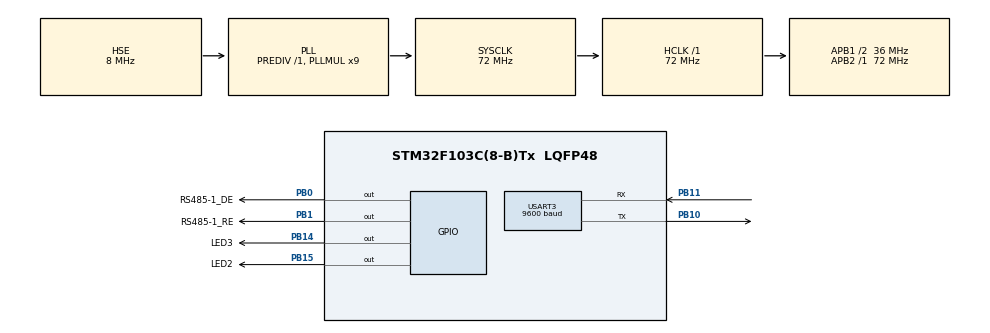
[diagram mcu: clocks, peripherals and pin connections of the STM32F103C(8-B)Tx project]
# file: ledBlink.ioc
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Mcu.Family=STM32F1
Mcu.Name=STM32F103C(8-B)Tx
Mcu.Package=LQFP48
NVIC.PriorityGroup=NVIC_PRIORITYGROUP_4
NVIC.USART3_IRQn=true\:1\:0\:true\:false\:true\:true\:true\:true
PA13.Mode=Serial_Wire
PA13.Signal=SYS_JTMS-SWDIO
PA14.Mode=Serial_Wire
PA14.Signal=SYS_JTCK-SWCLK
PB0.GPIO_Label=RS485-1_DE
PB0.GPIO_Speed=GPIO_SPEED_FREQ_MEDIUM
PB0.Signal=GPIO_Output
PB1.GPIO_Label=RS485-1_RE
PB1.GPIO_Speed=GPIO_SPEED_FREQ_MEDIUM
PB1.Signal=GPIO_Output
PB10.Mode=Asynchronous
PB10.Signal=USART3_TX
PB11.Mode=Asynchronous
PB11.Signal=USART3_RX
PB14.GPIO_Label=LED3
PB14.GPIO_Speed=GPIO_SPEED_FREQ_MEDIUM
PB14.PinState=GPIO_PIN_SET
PB14.Signal=GPIO_Output
PB15.GPIO_Label=LED2
PB15.GPIO_Speed=GPIO_SPEED_FREQ_MEDIUM
PB15.PinState=GPIO_PIN_SET
PB15.Signal=GPIO_Output
PC14-OSC32_IN.Mode=LSE-External-Oscillator
PC14-OSC32_IN.Signal=RCC_OSC32_IN
PC15-OSC32_OUT.Mode=LSE-External-Oscillator
PC15-OSC32_OUT.Signal=RCC_OSC32_OUT
PD0-OSC_IN.Mode=HSE-External-Oscillator
PD0-OSC_IN.Signal=RCC_OSC_IN
PD1-OSC_OUT.Mode=HSE-External-Oscillator
PD1-OSC_OUT.Signal=RCC_OSC_OUT
ProjectManager.HeapSize=0x200
ProjectManager.StackSize=0x400
ProjectManager.TargetToolchain=EWARM V8
RCC.AHBFreq_Value=72000000
RCC.APB1CLKDivider=RCC_HCLK_DIV2
RCC.APB1Freq_Value=36000000
RCC.APB1TimFreq_Value=72000000
RCC.APB2Freq_Value=72000000
RCC.APB2TimFreq_Value=72000000
RCC.HCLKFreq_Value=72000000
RCC.PLLMUL=RCC_PLL_MUL9
RCC.PLLSourceVirtual=RCC_PLLSOURCE_HSE
RCC.SYSCLKFreq_VALUE=72000000
RCC.SYSCLKSource=RCC_SYSCLKSOURCE_PLLCLK
RCC.USBFreq_Value=72000000
USART3.BaudRate=9600
USART3.VirtualMode=VM_ASYNC
board=custom

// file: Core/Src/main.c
/* USER CODE BEGIN Header */
/**
  ******************************************************************************
  * @file           : main.c
  * @brief          : Main program body
  ******************************************************************************
  * @attention
  *
  * Copyright (c) 2023 STMicroelectronics.
  * All rights reserved.
  *
  * This software is licensed under terms that can be found in the LICENSE file
  * in the root directory of this software component.
  * If no LICENSE file comes with this software, it is provided AS-IS.
  *
  ******************************************************************************
  */
/* USER CODE END Header */
#include "main.h"
#include "usart.h"
#include "gpio.h"

/* USER CODE BEGIN Includes */
#include "communication.h"
/* USER CODE END Includes */

/* USER CODE BEGIN PD */
#define LED_TOGGLE_FRE      200 //ms
/* USER CODE END PD */

/* USER CODE BEGIN PV */
uint32_t LedToggleCount = 0;
/* USER CODE END PV */

void SystemClock_Config(void);

/* USER CODE BEGIN 0 */
/**
  * @brief  Rx Transfer completed callbacks.
  * @param  huart  Pointer to a UART_HandleTypeDef structure that contains
  *                the configuration information for the specified UART module.
  * @retval None
  */
void HAL_UART_RxCpltCallback(UART_HandleTypeDef *huart)
{
    if(huart->Instance==USART3){
        comRxHandle();
    }
}

/**
  * @brief  Tx Transfer completed callbacks.
  * @param  huart  Pointer to a UART_HandleTypeDef structure that contains
  *                the configuration information for the specified UART module.
  * @retval None
  */
void HAL_UART_TxCpltCallback(UART_HandleTypeDef *huart)
{
    if(huart->Instance==USART3){
        comTxHandle();
    }
}
/* USER CODE END 0 */

int main(void)
{

  /* MCU Configuration--------------------------------------------------------*/

  /* Reset of all peripherals, Initializes the Flash interface and the Systick. */
  HAL_Init();

  /* Configure the system clock */
  SystemClock_Config();

  /* Initialize all configured peripherals */
  MX_GPIO_Init();
  MX_USART3_UART_Init();
  /* USER CODE BEGIN 2 */
  LED2_ON;
  LED3_OFF;
  communicationInit();
  /* USER CODE END 2 */

  /* Infinite loop */
  while (1)
  {

    /* USER CODE BEGIN 3 */
    if(LedToggleCount >= LED_TOGGLE_FRE){
        LedToggleCount = 0;
        LED3_TOGGLE;
        LED2_TOGGLE;
    }
    comPollingData();
  }
  /* USER CODE END 3 */
}

void SystemClock_Config(void)
{
  RCC_OscInitTypeDef RCC_OscInitStruct = {0};
  RCC_ClkInitTypeDef RCC_ClkInitStruct = {0};

  /** Initializes the RCC Oscillators according to the specified parameters
  * in the RCC_OscInitTypeDef structure.
  */
  RCC_OscInitStruct.OscillatorType = RCC_OSCILLATORTYPE_HSE;
  RCC_OscInitStruct.HSEState = RCC_HSE_ON;
  RCC_OscInitStruct.HSEPredivValue = RCC_HSE_PREDIV_DIV1;
  RCC_OscInitStruct.HSIState = RCC_HSI_ON;
  RCC_OscInitStruct.PLL.PLLState = RCC_PLL_ON;
  RCC_OscInitStruct.PLL.PLLSource = RCC_PLLSOURCE_HSE;
  RCC_OscInitStruct.PLL.PLLMUL = RCC_PLL_MUL9;
  if (HAL_RCC_OscConfig(&RCC_OscInitStruct) != HAL_OK)
  {
    Error_Handler();
  }

  /** Initializes the CPU, AHB and APB buses clocks
  */
  RCC_ClkInitStruct.ClockType = RCC_CLOCKTYPE_HCLK|RCC_CLOCKTYPE_SYSCLK
                              |RCC_CLOCKTYPE_PCLK1|RCC_CLOCKTYPE_PCLK2;
  RCC_ClkInitStruct.SYSCLKSource = RCC_SYSCLKSOURCE_PLLCLK;
  RCC_ClkInitStruct.AHBCLKDivider = RCC_SYSCLK_DIV1;
  RCC_ClkInitStruct.APB1CLKDivider = RCC_HCLK_DIV2;
  RCC_ClkInitStruct.APB2CLKDivider = RCC_HCLK_DIV1;

  if (HAL_RCC_ClockConfig(&RCC_ClkInitStruct, FLASH_LATENCY_2) != HAL_OK)
  {
    Error_Handler();
  }
}

void Error_Handler(void)
{
  __disable_irq();
  while (1)
  {
  }
}
